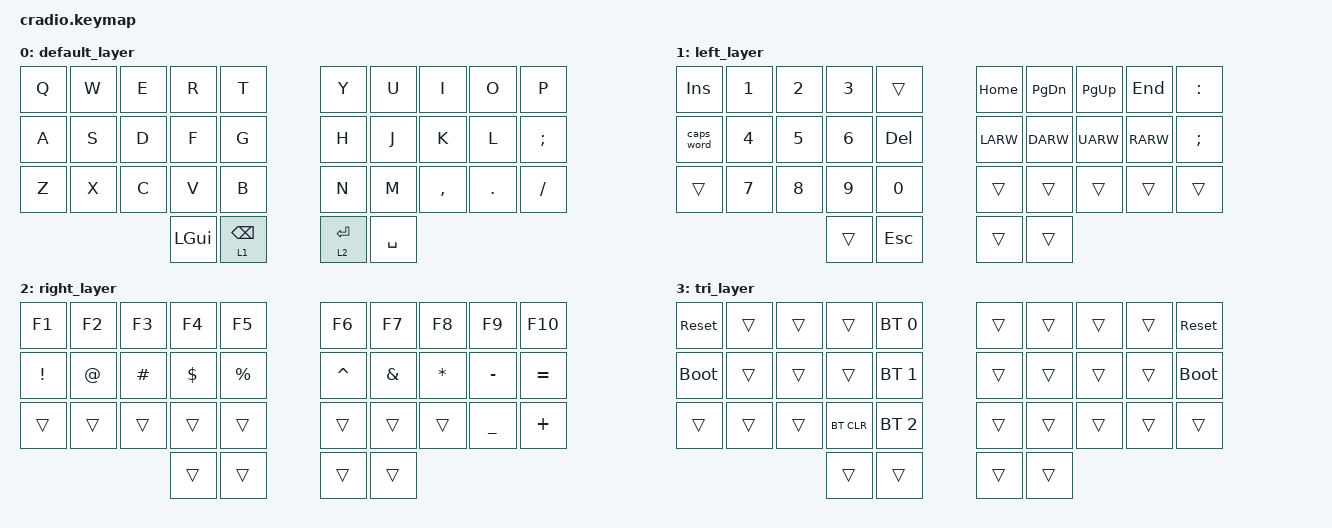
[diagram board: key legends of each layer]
// Copyright (c) 2022 The ZMK Contributors
// SPDX-License-Identifier: MIT

#include <behaviors.dtsi>
#include <dt-bindings/zmk/keys.h>
#include <dt-bindings/zmk/bt.h>

// Home row mods macro
#define HRML(k1,k2,k3,k4) &ht LSHFT k1  &ht LALT k2  &ht LCTRL k3  &ht LGUI k4
#define HRMR(k1,k2,k3,k4) &ht RGUI k1  &ht RCTRL k2  &ht RALT k3  &ht RSHFT k4

#define COMBO(NAME, BINDINGS, KEYPOS, LAYER) \
  combo_##NAME { \
    timeout-ms = <40>; \
    bindings = <BINDINGS>; \
    key-positions = <KEYPOS>; \
    layers = <LAYER>; \
  };

&lt {
            flavor = "tap-preferred";
            tapping-term-ms = <90>;
            quick-tap-ms = <200>;
            global-quick-tap;
};


/ {
    behaviors {
        ht: hold_tap {
            label = "hold_tap";
            compatible = "zmk,behavior-hold-tap";
            #binding-cells = <2>;
            flavor = "tap-preferred";
            tapping-term-ms = <90>;
            quick-tap-ms = <200>;
            global-quick-tap;
            bindings = <&kp>, <&kp>;
        };
//        lt: layer_tap {
//            label = "layer_tap";
//            compatible = "zmk,behavior-layer-tap";
//            flavor = "tap-preferred";
//            tapping-term-ms = <120>;
//            quick-tap-ms = <100>;
//            global-quick-tap;
//            bindings = <&kp>, <&kp>;
//        };
    };

    combos {
      compatible = "zmk,combos";
    //modifiers
      //layer (-1) allows combo on all layers
      COMBO(leftctrl, &kp LCTRL, 20 21, 0 1 2 3)
      COMBO(rightctrl, &kp RCTRL, 28 29, 0 1 2 3)
      COMBO(leftshift, &kp LSHFT, 10 11, 0 1 2 3) 
      COMBO(rightshift, &kp RSHFT, 18 19, 0 1 2 3)
      COMBO(escape, &kp ESC, 0 1, 0)
      COMBO(apostrophe, &kp APOS, 17 19, 0)
      COMBO(TAB, &kp TAB, 10 12, 0)

    //symbols
      COMBO(leftbrkt, &kp LBKT, 6 7, 0)
      COMBO(rightbrkt, &kp RBKT, 7 8, 0)
      COMBO(leftpar, &kp LPAR, 16 17, 0)
      COMBO(rightpar, &kp RPAR, 17 18, 0)
      COMBO(backslash, &kp BSLH, 8 9, 0)
      COMBO(GRAVE, &kp GRAVE, 0 2, 0)
      COMBO(minus, &kp MINUS, 16 18, 0)
      COMBO(lalt, &kp LALT, 22 24, 0)
      COMBO(ralt, &kp RALT, 25 27, 0)
      COMBO(DEL, &kp DEL, 12 14, 0)

    // numbers, only layer 0 
      COMBO(one, &kp N1, 1 2, 0)
      COMBO(two, &kp N2, 2 3, 0)
      COMBO(three, &kp N3, 3 4, 0)
      COMBO(four, &kp N4, 11 12, 0)
      COMBO(five, &kp N5, 12 13, 0)
      COMBO(six, &kp N6, 13 14, 0)
      COMBO(seven, &kp N7, 21 22, 0)
      COMBO(eight, &kp N8, 22 23, 0)
      COMBO(nine, &kp N9, 23 24, 0)
      COMBO(zero, &kp N0, 11 13, 0)
    };

    conditional_layers {
        compatible = "zmk,conditional-layers";
        tri_layer {
            if-layers = <1 2>;
            then-layer = <3>;
        };
    };

    keymap {
        compatible = "zmk,keymap";
        default_layer {
            bindings = <
        //╭──────────┬──────────┬──────────┬──────────┬──────────╮   ╭──────────┬──────────┬──────────┬──────────┬──────────╮
        //│  Q       │  W       │  E       │  R       │  T       │   │  Y       │  U       │  I       │  O       │  P       │
            &kp Q      &kp W      &kp E      &kp R      &kp T          &kp Y      &kp U      &kp I      &kp O      &kp P
        //├──────────┼──────────┼──────────┼──────────┼──────────┤   ├──────────┼──────────┼──────────┼──────────┼──────────┤
        //│  A       │  S       │  D       │  F       │  G       │   │  H       │  J       │  K       │  L       │ ; :      │
            &kp A   &kp S      &kp D      &kp F      &kp G          &kp H      &kp J      &kp K      &kp L     &kp SEMI 
        //├──────────┼──────────┼──────────┼──────────┼──────────┤   ├──────────┼──────────┼──────────┼──────────┼──────────┤
        //│  Z       │  X       │  C       │  V       │  B       │   │  N       │  M       │ , <      │ . >      │ / ?      │
            &kp Z      &kp X      &kp C      &kp V      &kp B          &kp N      &kp M      &kp COMMA  &kp DOT    &kp FSLH
        //╰──────────┴──────────┴──────────┼──────────┼──────────┤   ├──────────┼──────────┼──────────┴──────────┴──────────╯
                                            &kp LGUI    &lt 1 BSPC   &lt 2 ENTER  &kp SPACE
        //                                 ╰──────────┴──────────╯   ╰──────────┴──────────╯
            >;
        };

        left_layer {
            bindings = <
        //╭──────────┬──────────┬──────────┬──────────┬──────────╮   ╭──────────┬──────────┬──────────┬──────────┬──────────╮
        //│ INSERT   │  1       │  2       │  3       │          │   │ HOME     │ PAGE DN  │ PAGE UP  │ END      │  :       │
            &kp INS    &kp N1     &kp N2     &kp N3     &trans         &kp HOME   &kp PG_DN  &kp PG_UP  &kp END    &kp COLON
        //├──────────┼──────────┼──────────┼──────────┼──────────┤   ├──────────┼──────────┼──────────┼──────────┼──────────┤
        //│ CAPSWORD │  4       │  5       │  6       │ DELETE   │   │ LEFT     │ DOWN     │ UP       │ RIGHT    │  ;       │
           &caps_word  &kp N4     &kp N5     &kp N6     &kp DEL        &kp LARW   &kp DARW   &kp UARW   &kp RARW   &kp SEMI
        //├──────────┼──────────┼──────────┼──────────┼──────────┤   ├──────────┼──────────┼──────────┼──────────┼──────────┤
        //│ TRANS    │  7       │  8       │  9       │  0       │   │          │          │          │          │          │
           &trans      &kp N7     &kp N8     &kp N9     &kp N0         &trans     &trans     &trans     &trans     &trans
        //╰──────────┴──────────┴──────────┼──────────┼──────────┤   ├──────────┼──────────┼──────────┴──────────┴──────────╯
                                             &trans     &kp ESC        &trans     &trans
        //                                 ╰──────────┴──────────╯   ╰──────────┴──────────╯
            >;
        };

        right_layer {
            bindings = <
        //╭──────────┬──────────┬──────────┬──────────┬──────────╮   ╭──────────┬──────────┬──────────┬──────────┬──────────╮
        //│  F1      │  F2      │  F3      │  F4      │  F5      │   │ F6       │  F7      │  F8      │  F9      │  F10     │
            &kp F1      &kp F2     &kp F3     &kp F4     &kp F5        &kp F6      &kp F7     &kp F8     &kp F9     &kp F10                                                          
        //├──────────┼──────────┼──────────┼──────────┼──────────┤   ├──────────┼──────────┼──────────┼──────────┼──────────┤
        //│  !       │  @       │  #       │  $       │  %       │   │  ^       │  &       │  *       │  -       │  =       │
            &kp EXCL   &kp AT     &kp HASH   &kp DLLR   &kp PRCNT      &kp CARET  &kp AMPS  &kp STAR    &kp MINUS  &kp EQUAL
        //├──────────┼──────────┼──────────┼──────────┼──────────┤   ├──────────┼──────────┼──────────┼──────────┼──────────┤
        //│          │          │          │          │          │   │          │          │          │  _       │  +       │
            &trans     &trans     &trans     &trans     &trans          &trans     &trans     &trans    &kp UNDER   &kp PLUS
        //╰──────────┴──────────┴──────────┼──────────┼──────────┤   ├──────────┼──────────┼──────────┴──────────┴──────────╯
                                             &trans     &trans         &trans     &trans
        //                                 ╰──────────┴──────────╯   ╰──────────┴──────────╯
            >;
        };

        tri_layer {
            bindings = <
        //╭──────────┬──────────┬──────────┬──────────┬──────────╮   ╭──────────┬──────────┬──────────┬──────────┬──────────╮
        //│ RESET    │          │          │          │PROFILE 0 │   │          │          │          │          │  RESET   │
           &sys_reset  &trans     &trans     &trans    &bt BT_SEL 0    &trans     &trans     &trans     &trans    &sys_reset
        //├──────────┼──────────┼──────────┼──────────┼──────────┤   ├──────────┼──────────┼──────────┼──────────┼──────────┤
        //│BOOTLOADER│          │          │          │PROFILE 1 │   │          │          │          │          │BOOTLOADER│
          &bootloader  &trans     &trans     &trans    &bt BT_SEL 1    &trans     &trans     &trans     &trans    &bootloader
        //├──────────┼──────────┼──────────┼──────────┼──────────┤   ├──────────┼──────────┼──────────┼──────────┼──────────┤
        //│          │          │          │ CLEAR BT │PROFILE 2 │   │          │          │          │          │          │
            &trans     &trans     &trans    &bt BT_CLR &bt BT_SEL 2    &trans     &trans     &trans     &trans     &trans
        //╰──────────┴──────────┴──────────┼──────────┼──────────┤   ├──────────┼──────────┼──────────┴──────────┴──────────╯
                                             &trans     &trans         &trans     &trans
        //                                 ╰──────────┴──────────╯   ╰──────────┴──────────╯
            >;
        };
    };
};
